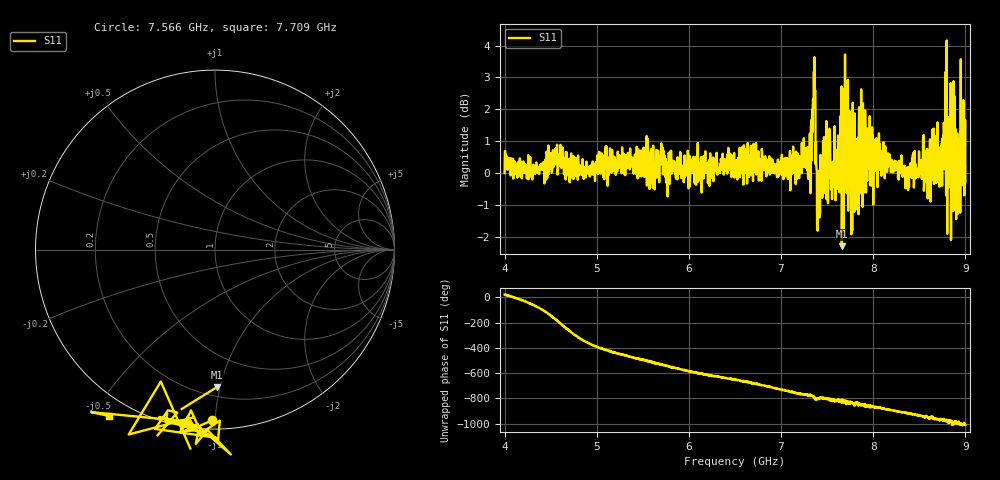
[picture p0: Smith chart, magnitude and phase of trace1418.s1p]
! Created with skrf 1.8.0 (http://scikit-rf.org).
# Hz S RI R 50.0
!freq ReS11 ImS11
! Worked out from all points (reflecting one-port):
!   1601 points, 4 GHz to 9 GHz, reference 50 ohm
!   lowest |S11| = -2.3 dB at 7.659 GHz (marker M1), VSWR 7.59, Z = 13.1 - j48.8 ohm
!   phase of S11 starts at 21 deg and turns -1032 deg over the sweep
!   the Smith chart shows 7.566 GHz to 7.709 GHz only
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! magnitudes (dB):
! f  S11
! 4 GHz  0.0
! 4.625 GHz  0.6
! 5.25 GHz  0.5
! 5.875 GHz  -0.2
! 6.5 GHz  0.1
! 7.125 GHz  0.4
! 7.294 GHz  -0.2
! 7.347 GHz  2.3
! 7.362 GHz  3.6
! 7.4 GHz  -0.7
! 7.409 GHz  0.1
! 7.481 GHz  -0.6
! 7.566 GHz  -0.4
! 7.659 GHz  -2.3
! 7.669 GHz  2.3
! 7.75 GHz  1.2
! 7.784 GHz  0.6
! 7.8 GHz  -1.0
! 7.891 GHz  0.6
! 8.375 GHz  -0.2
! 8.559 GHz  0.7
! 8.603 GHz  0.4
! 8.656 GHz  1.4
! 8.725 GHz  0.2
! 8.775 GHz  0.7
! 8.919 GHz  -0.5
! 8.972 GHz  1.0
! 9 GHz  -0.3
